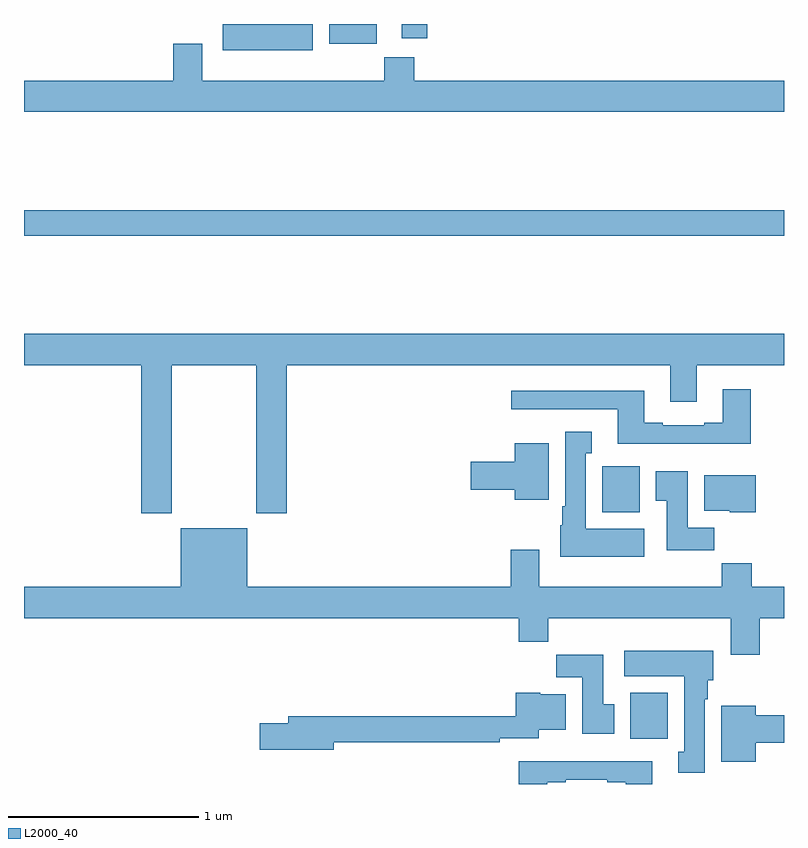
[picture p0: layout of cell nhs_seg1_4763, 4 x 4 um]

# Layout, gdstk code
import gdstk
lib = gdstk.Library(unit=1e-6, precision=1e-09)
def R(c, l, rs):  # rectangles x0, y0, x1, y1
    for r in rs: c.add(gdstk.rectangle(r[:2], r[2:], *l))
def P(c, l, *ps):  # polygons
    for p in ps: c.add(gdstk.Polygon(p, *l))
L2000_40 = (2000, 40)

nhs_seg1_4763 = lib.new_cell('nhs_seg1_4763')
R(nhs_seg1_4763, L2000_40, [(372.191,544.436,372.388,544.678), (372.044,545.63,372.241,545.872), (369,547.084,373,547.22), (370.046,548.06,370.519,548.199), (370.607,548.094,370.856,548.199), (370.988,548.124,371.123,548.199)])
P(nhs_seg1_4763, L2000_40, [(373,547.9),(371.054,547.9),(371.054,548.024),(370.897,548.024),(370.897,547.9),(369.937,547.9),(369.937,548.095),(369.785,548.095),(369.785,547.9),(369,547.9),(369,547.736),(373,547.736)],
  [(369.777,546.404),(370.222,546.404),(370.222,545.625),(370.382,545.625),(370.382,546.404),(372.401,546.404),(372.401,546.21),(372.541,546.21),(372.541,546.404),(373,546.404),(373,546.568),(369,546.568),(369,546.404),(369.617,546.404),(369.617,545.625),(369.777,545.625)],
  [(372.825,546.277),(372.677,546.277),(372.677,546.1),(372.581,546.1),(372.581,546.087),(372.361,546.087),(372.361,546.1),(372.265,546.1),(372.265,546.268),(371.565,546.268),(371.565,546.171),(372.125,546.171),(372.125,545.99),(372.825,545.99)],
  [(372.265,545.542),(371.956,545.542),(371.956,545.939),(371.989,545.939),(371.989,546.052),(371.849,546.052),(371.849,545.662),(371.834,545.662),(371.834,545.562),(371.822,545.562),(371.822,545.396),(372.265,545.396)],
  [(371.761,545.992),(371.582,545.992),(371.582,545.894),(371.352,545.894),(371.352,545.747),(371.582,545.747),(371.582,545.696),(371.761,545.696)],
  [(372.632,545.548),(372.493,545.548),(372.493,545.845),(372.326,545.845),(372.326,545.689),(372.383,545.689),(372.383,545.43),(372.632,545.43)],
  [(372.85,545.824),(372.581,545.824),(372.581,545.636),(372.714,545.636),(372.714,545.63),(372.85,545.63)],
  [(372.872,545.072),(373,545.072),(373,545.236),(372.83,545.236),(372.83,545.36),(372.673,545.36),(372.673,545.236),(371.713,545.236),(371.713,545.431),(371.561,545.431),(371.561,545.236),(370.174,545.236),(370.174,545.545),(369.824,545.545),(369.824,545.236),(369,545.236),(369,545.072),(371.603,545.072),(371.603,544.948),(371.759,544.948),(371.759,545.072),(372.719,545.072),(372.719,544.878),(372.872,544.878)],
  [(372.583,544.646),(372.598,544.646),(372.598,544.746),(372.628,544.746),(372.628,544.9),(372.159,544.9),(372.159,544.766),(372.476,544.766),(372.476,544.37),(372.443,544.37),(372.443,544.257),(372.583,544.257)],
  [(372.106,544.62),(372.049,544.62),(372.049,544.879),(371.8,544.879),(371.8,544.76),(371.939,544.76),(371.939,544.464),(372.106,544.464)],
  [(370.63,544.42),(371.504,544.42),(371.504,544.44),(371.71,544.44),(371.71,544.484),(371.851,544.484),(371.851,544.672),(371.718,544.672),(371.718,544.678),(371.588,544.678),(371.588,544.556),(370.391,544.556),(370.391,544.52),(370.242,544.52),(370.242,544.378),(370.63,544.378)],
  [(372.85,544.415),(373,544.415),(373,544.562),(372.85,544.562),(372.85,544.612),(372.671,544.612),(372.671,544.316),(372.85,544.316)],
  [(371.755,544.209),(371.851,544.209),(371.851,544.221),(372.071,544.221),(372.071,544.209),(372.167,544.209),(372.167,544.199),(372.307,544.199),(372.307,544.318),(371.603,544.318),(371.603,544.199),(371.755,544.199)])

lib.write_gds('nhs_seg1_4763.gds')
